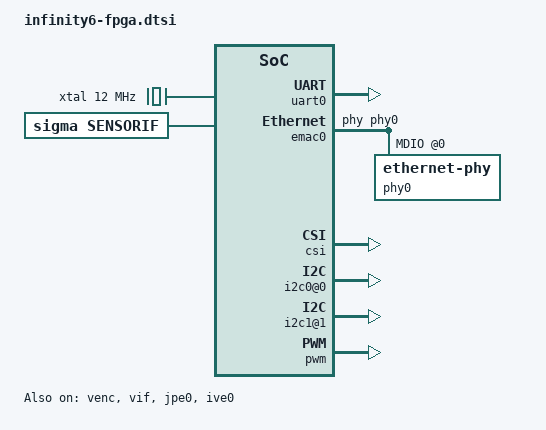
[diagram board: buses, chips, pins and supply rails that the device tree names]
/*
* infinity6-fpga.dtsi- Sigmastar
*
* Copyright (c) [2019~2020] SigmaStar Technology.
*
*
* This software is licensed under the terms of the GNU General Public
* License version 2, as published by the Free Software Foundation, and
* may be copied, distributed, and modified under those terms.
*
* This program is distributed in the hope that it will be useful,
* but WITHOUT ANY WARRANTY; without even the implied warranty of
* MERCHANTABILITY or FITNESS FOR A PARTICULAR PURPOSE.  See the
* GNU General Public License version 2 for more details.
*
*/

#include <../../../../drivers/sstar/include/infinity6/irqs.h>
#include <../../../../drivers/sstar/include/infinity6/gpio.h>
#include <dt-bindings/interrupt-controller/irq.h>
#include <dt-bindings/interrupt-controller/arm-gic.h>
#include "skeleton.dtsi"


/ {
    cpus {
        #address-cells = <1>;
        #size-cells = <0>;

        cpu@0 {
            device_type = "cpu";
            compatible = "arm,cortex-a7";
            clocks = <&xtal>;
        };
    };

    xtal: oscillator {
        compatible = "fixed-clock";
        #clock-cells = <0>;
        clock-frequency = <12000000>;
    };

    aliases {
        console = &uart0;
        serial0 = &uart0;
    };

    soc {
        compatible = "simple-bus";
        interrupt-parent = <&ms_main_intc>;
        #address-cells = <1>;
        #size-cells = <1>;
        ranges;

        gic: gic@16000000 {
            compatible = "arm,cortex-a7-gic";
            #interrupt-cells = <3>;
            #address-cells = <1>;
            #size-cells = <1>;
            interrupt-controller;
            interrupt-parent = <&gic>;
            reg = <0x16001000 0x1000>,
                  <0x16002000 0x1000>;
        };

        ms_main_intc: ms_main_intc {
            compatible = "sstar,main-intc";
            #interrupt-cells = <3>;
            #address-cells = <1>;
            #size-cells = <1>;
            interrupt-parent=<&gic>;
            interrupt-controller;
        };

        ms_pm_intc: ms_pm_intc {
            compatible = "sstar,pm-intc";
            #interrupt-cells = <1>;
            interrupt-parent=<&ms_main_intc>;
            interrupt-controller;
        };

        arch_timer {
            compatible = "arm,cortex-a7-timer", "arm,armv7-timer";
            interrupt-parent=<&gic>;
            interrupts = <GIC_PPI 13 (GIC_CPU_MASK_SIMPLE(2) | IRQ_TYPE_LEVEL_LOW)>,
                         <GIC_PPI 14 (GIC_CPU_MASK_SIMPLE(2) | IRQ_TYPE_LEVEL_LOW)>,
                         <GIC_PPI 11 (GIC_CPU_MASK_SIMPLE(2) | IRQ_TYPE_LEVEL_LOW)>,
                         <GIC_PPI 10 (GIC_CPU_MASK_SIMPLE(2) | IRQ_TYPE_LEVEL_LOW)>;
            clock-frequency = <24000000>;  /* arch_timer must use clock-frequency*/
        };

        clks: clocks{
            #address-cells = <1>;
            #size-cells = <1>;
            ranges;
        };

/*
        timer_clockevent: timer@1F006040 {
            compatible = "sstar,piu-clockevent";
            reg = <0x1F006040 0x100>;
            interrupts=<GIC_SPI INT_FIQ_TIMER_0 IRQ_TYPE_LEVEL_HIGH>;
            clocks = <&CLK_xtali_12m>;
        };
*/

        venc{
            compatible = "sstar,venc";
            reg = <0x1F264800 0x100>, <0x1F264A00 0x100>, <0x1F264C00 0x100>,
                  <0x1F264E00 0x100>, <0x1F265000 0x100>,
                  <0x1F265200 0x100>, <0x1F265400 0x100>, <0x1F265600 0x100>, <0x1F265800 0x100>;
            reg-names = "mhe-0", "mhe-1", "mhe-2", "mfe-0", "mfe-1", "ven-0", "ven-1", "ven-2", "ven-3";
            interrupts = <GIC_SPI INT_IRQ_MHE IRQ_TYPE_LEVEL_HIGH>, <GIC_SPI INT_IRQ_MFE IRQ_TYPE_LEVEL_HIGH>;
            interrupt-parent = <&ms_main_intc>;
            interrupt-names = "mhe-irq", "mfe-irq";
            clocks = <&CLK_vhe>, <&CLK_miu_vhe>, <&CLK_riu_vhe_gp>, <&CLK_riu_w_clk_vhe_gp>, <&CLK_miu_vhe_gp_p>, <&CLK_miu_vhe_gp>;
            clock-names = "CKG_venc";
            status = "ok";
        };

        hvsp1: hvsp1 {
            compatible = "sstar,sclhvsp1_i6";
            //reg = <0x1F000000 0x100>;
            //clk,chiptop,hvsp0,sc0,dnr,ldc
            clocks = <&CLK_fclk1>,<&CLK_fclk2>,<&CLK_odclk>;
            clock-names = "CLK_fclk1","CLK_fclk2","CLK_odclk";
            status = "ok";
            interrupts = <GIC_SPI INT_IRQ_SC_TOP IRQ_TYPE_LEVEL_HIGH>, <GIC_SPI INT_IRQ_CMDQ IRQ_TYPE_LEVEL_HIGH>;
        };

        hvsp2: hvsp2 {
            compatible = "sstar,hvsp2";
            //reg = <0x1F000000 0x100>;
            //clk,chiptop,hvsp0,sc0,dnr,ldc
            clocks = <&CLK_fclk1>,<&CLK_fclk2>,<&CLK_odclk>;
            clock-names = "CLK_fclk1","CLK_fclk2","CLK_odclk";
            status = "ok";
            interrupts = <GIC_SPI INT_IRQ_SC_TOP IRQ_TYPE_LEVEL_HIGH>, <GIC_SPI INT_IRQ_CMDQ IRQ_TYPE_LEVEL_HIGH>;
        };

        hvsp3: hvsp3 {
            compatible = "sstar,hvsp3";
            //reg = <0x1F000000 0x100>;
            //clk,chiptop,hvsp0,sc0,dnr,ldc
            clocks = <&CLK_fclk1>,<&CLK_fclk2>,<&CLK_odclk>;
            clock-names = "CLK_fclk1","CLK_fclk2","CLK_odclk";
            status = "ok";
            interrupts = <GIC_SPI INT_IRQ_SC_TOP IRQ_TYPE_LEVEL_HIGH>, <GIC_SPI INT_IRQ_CMDQ IRQ_TYPE_LEVEL_HIGH>;
        };

        scldma1: scldma1 {
            compatible = "sstar,scldma1";
            //reg = <0x1F000000 0x100>;
            //clk,chiptop,scldma
            clocks =  <&CLK_fclk1>,<&CLK_fclk2>,<&CLK_odclk>;
            clock-names = "CLK_fclk1","CLK_fclk2","CLK_odclk";
            status = "ok";
            interrupts = <GIC_SPI INT_IRQ_SC_TOP IRQ_TYPE_LEVEL_HIGH>;
        };
        scldma2: scldma2 {
            compatible = "sstar,scldma2";
            //reg = <0x1F000000 0x100>;
            //clk,chiptop,scldma
            clocks =  <&CLK_fclk1>,<&CLK_fclk2>,<&CLK_odclk>;
            clock-names = "CLK_fclk1","CLK_fclk2","CLK_odclk";
            status = "ok";
            interrupts = <GIC_SPI INT_IRQ_SC_TOP IRQ_TYPE_LEVEL_HIGH>;
        };
        scldma3: scldma3 {
            compatible = "sstar,scldma3";
            //reg = <0x1F000000 0x100>;
            //clk,chiptop,scldma
            clocks =  <&CLK_fclk1>,<&CLK_fclk2>,<&CLK_odclk>;
            clock-names = "CLK_fclk1","CLK_fclk2","CLK_odclk";
            status = "ok";
            interrupts = <GIC_SPI INT_IRQ_SC_TOP IRQ_TYPE_LEVEL_HIGH>;
        };
        scldma4: scldma4 {
            compatible = "sstar,scldma4";
            //reg = <0x1F000000 0x100>;
            //clk,chiptop,scldma
            clocks =  <&CLK_fclk1>,<&CLK_fclk2>,<&CLK_odclk>;
            clock-names = "CLK_fclk1","CLK_fclk2","CLK_odclk";
            status = "ok";
            interrupts = <GIC_SPI INT_IRQ_SC_TOP IRQ_TYPE_LEVEL_HIGH>;
        };

        vip: vip {
            compatible = "sstar,vip";
            status = "ok";

            //reg = <0x1F224000 0x200>;
        };

        pnl: pnl {
            compatible = "sigmastar,pnl";
            status = "ok";

            //Reg = <0x1F224000 0x200>;
        };

        disp: disp {
            compatible = "sigmastar,disp";
            status = "ok";
            interrupts = <GIC_SPI INT_IRQ_SC_TOP IRQ_TYPE_LEVEL_HIGH>, <GIC_SPI INT_IRQ_SC1_TOP_INT IRQ_TYPE_LEVEL_HIGH>, <GIC_SPI INT_IRQ_SC2_TOP_INT IRQ_TYPE_LEVEL_HIGH>, <GIC_SPI INT_IRQ_CMDQ IRQ_TYPE_LEVEL_HIGH>;
            //Reg = <0x1F224000 0x200>;
        };

        uart0: uart@1F221000 {
            compatible = "sstar,uart";
            reg = <0x1F221000 0x100>;
            interrupts= <GIC_SPI INT_IRQ_UART_0 IRQ_TYPE_LEVEL_HIGH>;
            status = "ok";
            clocks = <&xtal>;
        };

		dip {
            compatible = "sstar,dip";
            interrupts=<GIC_SPI INT_IRQ_DIP0 IRQ_TYPE_LEVEL_HIGH>;
            clocks = <&CLK_dip>;
            status = "ok";
        };

/*
        emac {
            compatible = "sstar-emac";
            interrupts = <GIC_SPI INT_IRQ_EMAC IRQ_TYPE_LEVEL_HIGH>, <GIC_SPI INT_FIQ_LAN_ESD IRQ_TYPE_LEVEL_HIGH>;
            status = "ok";
        };
*/

        emac0: emac0 {
            compatible = "sstar-emac";
            interrupts = <GIC_SPI INT_IRQ_EMAC IRQ_TYPE_LEVEL_HIGH>, <GIC_SPI INT_FIQ_LAN_ESD IRQ_TYPE_LEVEL_HIGH>;
            // clocks = <&CLK_emac_ahb>,<&CLK_emac_tx>,<&CLK_emac_rx>;
            // reg = <0x1F2A2000 0x800>, <0x1F343C00 0x600>, <0x1F006200 0x600>;
            reg = <0x1F2A2000 0x800>, <0x1F343C00 0x600>, <0x00000000 0x000>;
            pad = <0x1F203C3C 0x0004 0x0004>; // pad selection from 0x0001
            phy-handle = <&phy0>;
            max-speed = <10>;
            mdio_path = <0>; // force internal mdio
            status = "ok";
            mdio-bus {
                phy0: ethernet-phy@0 {
                    // phy-mode = "rmii";
                    phy-mode = "mii";
                };
            };
        };

        flashisp {
            compatible = "mtd-flashisp";
            clocks = <&CLK_bdma>;
            quadread = <0>;
            status = "disabled";
        };
        isp: isp {
            compatible = "isp";
            io_phy_addr = <0x1f000000>;
            banks = <0x1302>;
            interrupts = <GIC_SPI INT_IRQ_ISP IRQ_TYPE_LEVEL_HIGH>;
            clocks = <&CLK_isp>;
            status = "ok";
            clock-frequency-index = <5>;
        };

        csi: csi {
            compatible = "csi";
            io_phy_addr = <0x1f000000>;
            banks = <0x1204>;
            interrupts=  <GIC_SPI INT_IRQ_MIPI_CSI2 IRQ_TYPE_LEVEL_HIGH>;
            status = "ok";
        };

        vif: vif {
            compatible = "sigma,vif";
            status = "ok";
            reg = <0x1F263200 0x600>, <0x0 0x0>, <0x0 0x0>, <0x0 0x0>, <0x0 0x0>, <0x0 0x0>, <0x1F203C00 0x200>, <0x1F226600 0x200>, <0x1F207000 0x200>, <0x1F000000 0x400000>;
            clocks = <&CLK_sr_mclk>;
            interrupts = <GIC_SPI INT_IRQ_VIF IRQ_TYPE_LEVEL_HIGH>;
            /* Config sensor 0 pad mux */
            vif_sr0_par_mode = <2>;
            vif_sr0_mipi_mode = <2>;
            vif_sr0_bt656_mode = <2>;
            vif_sr0_mclk_mode = <1>;
            vif_sr0_pdn_mode  = <2>;
            vif_sr0_rst_mode  = <2>;
            vif_sr0_hvsync_mode  = <1>;
            vif_sr0_pck_mode  = <1>;
            /* Config sensor 1 pad mux */
            vif_sr1_par_mode = <2>;
            vif_sr1_mipi_mode = <2>;
            vif_sr1_bt656_mode = <2>;
        };

        ispalgo: ispalgo {
            compatible = "sstar,ispalgo";
            status = "ok";
        };

        ispmid: ispmid {
            compatible = "sstar,ispmid";
            status = "ok";
        };

        sensorif: sensorif {
            compatible = "sigma,sensorif";
            status = "ok";
        };

        jpe0: jpe@0x1F264000 {
            compatible = "sstar,cedric-jpe";
            reg = <0x1F264000 0x100>;
            interrupts = <GIC_SPI INT_IRQ_JPE IRQ_TYPE_LEVEL_HIGH>;
            clocks = <&CLK_jpe>;
            clock-names = "CKG_jpe";
            clk-select = <0>; // 0: 288MHz  1: 216MHz  2: 54MHz  3: 27MHz
            status = "ok";
        };

        ive0: ive@0x1F2A4000 {
            compatible = "sstar,infinity3-ive";
            reg = <0x1F2A4000 0x100>,<0x1F2A4200 0x100>;
            interrupts = <GIC_SPI INT_IRQ_IVE_INT IRQ_TYPE_LEVEL_HIGH>;
            clocks = <&CLK_miu_ive>;
            status = "ok";
        };

        i2c0@0{
            compatible = "sstar,i2c";
            reg = <0x1F223000 0x200>,<0x1F203c00 0x200>,<0x1F207000 0x200>;
                #address-cells = <1>;
                #size-cells = <0>;
            clocks = <&CLK_miic0>;
            i2c-group = <0>;
            status = "ok";
            /*
             * padmux: 1 -> PAD_I2C0_SCL, PAD_I2C0_SDA
             *         2 -> PAD_PWM0, PAD_PWM1
             *         3 -> PAD_SR_IO00, PAD_SR_IO01
            */
            i2c-padmux = <1>;
        };

        i2c1@1{
            compatible = "sstar,i2c";
            reg = <0x1F223200 0x200>,<0x1F203c00 0x200>,<0x1F207000 0x200>;
                #address-cells = <1>;
                #size-cells = <0>;
            clocks = <&CLK_miic1>;
            i2c-group = <1>;
            /*
             * padmux: 1 -> PAD_I2C1_SCL, PAD_I2C1_SDA
             *         2 -> PAD_PWM0, PAD_PWM1
             *         3 -> PAD_SR_IO00, PAD_SR_IO01
            */
            i2c-padmux = <1>;
            status = "ok";
//            24c512@54 {
//                compatible = "sstar,24c512";
//                reg = <0x54>;
//            };
        };

        sound {
            compatible = "sstar,infinity-audio";
//            reg = <0x1F000000 0x1000000>;
            interrupts=<GIC_SPI INT_IRQ_BACH IRQ_TYPE_LEVEL_HIGH>;
            playback-volume-level=<64>;    //0~76
            capture-volume-level=<64>;
            micin-gain-level=<0>;    //0~5
            linein-gain-level=<1>;//0~6
            lineout-gain-level=<1>;//0~2
        };
        bdma0 {
            compatible = "sstar,bdma0";
            interrupts=<GIC_SPI INT_IRQ_BDMA_0 IRQ_TYPE_LEVEL_HIGH>;
            clocks = <&CLK_bdma>,<&CLK_miu_bdma>;
            status = "ok";
        };

        bdma1 {
            compatible = "sstar,bdma1";
            interrupts=<GIC_SPI INT_IRQ_BDMA_1 IRQ_TYPE_LEVEL_HIGH>;
            clocks = <&CLK_bdma>,<&CLK_miu_bdma>;
            status = "ok";
        };

        bdma2 {
            compatible = "sstar,bdma2";
            interrupts=<GIC_SPI INT_IRQ_BDMA_2 IRQ_TYPE_LEVEL_HIGH>;
            clocks = <&CLK_bdma>,<&CLK_miu_bdma>;
            status = "ok";
        };

        bdma3 {
            compatible = "sstar,bdma3";
            interrupts=<GIC_SPI INT_IRQ_BDMA_3 IRQ_TYPE_LEVEL_HIGH>;
            clocks = <&CLK_bdma>,<&CLK_miu_bdma>;
            status = "ok";
        };

        movdma {
            compatible = "sstar,movdma";
            interrupts=<GIC_SPI INT_IRQ_MOVEDMA IRQ_TYPE_LEVEL_HIGH>;
            clocks = <&CLK_miu>;
            status = "ok";
        };

        aesdma {
            compatible = "sstar,infinity-aes";
            clocks = <&CLK_aesdma>;
            status = "ok";
        };

        gop{
            compatible = "sstar,infinity-gop";
            clocks = <&CLK_gop0>,<&CLK_fclk1>;
            status = "ok";
        };

        gop1{
            compatible = "sstar,infinity-gop1";
            clocks = <&CLK_gop1>,<&CLK_fclk1>;
            status = "ok";
        };

        gop2{
            compatible = "sstar,infinity-gop2";
            clocks = <&CLK_gop2>,<&CLK_fclk2>;
            status = "ok";
        };
        rtc {
            compatible = "sstar,infinity-rtc";
            reg = <0x1F002400 0x40>;
            interrupts=<GIC_SPI INT_IRQ_RTC IRQ_TYPE_LEVEL_HIGH>;
            clocks =  <&xtal>;
        };

        pwm {
            compatible = "sstar,infinity-pwm";
            reg = <0x1F003400 0x600>;
            clocks = <&CLK_xtali_12m>;
            npwm = <11>;
            pad-ctrl = <PAD_PWM0 PAD_PWM1 PAD_UNKNOWN PAD_UNKNOWN PAD_UNKNOWN PAD_UNKNOWN PAD_UNKNOWN PAD_UNKNOWN PAD_UNKNOWN PAD_UNKNOWN PAD_UNKNOWN>;
            status = "ok";
        };

        cmdq0 {
            compatible = "sstar,cmdq0";
            clocks = <&xtal>; //for timeout tick
            interrupts=<GIC_SPI INT_IRQ_CMDQ IRQ_TYPE_LEVEL_HIGH>;
            status = "ok";
        };

        cmdq1 {
            compatible = "sstar,cmdq1";
            clocks = <&xtal>; //for timeout tick
            interrupts=<GIC_SPI INT_IRQ_CMDQ1 IRQ_TYPE_LEVEL_HIGH>;
            status = "ok";
        };

        cmdq2 {
            compatible = "sstar,cmdq2";
            clocks = <&xtal>; //for timeout tick
            interrupts=<GIC_SPI INT_IRQ_CMDQ2 IRQ_TYPE_LEVEL_HIGH>;
            status = "ok";
        };

    };
};

&clks {
    #include <../../../../drivers/sstar/include/infinity6/reg_clks.h>
    #include "infinity6-clks.dtsi"
};

